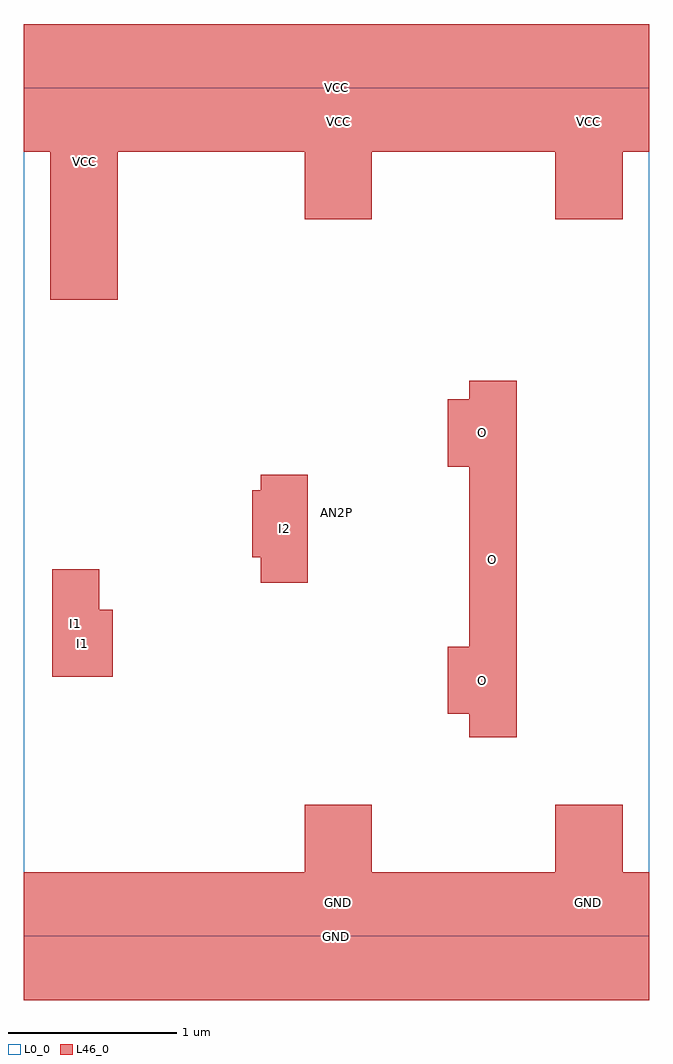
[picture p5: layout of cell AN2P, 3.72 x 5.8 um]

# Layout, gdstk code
import gdstk
lib = gdstk.Library(unit=1e-6, precision=1e-09)
def R(c, l, rs):  # rectangles x0, y0, x1, y1
    for r in rs: c.add(gdstk.rectangle(r[:2], r[2:], *l))
L0_0 = (0, 0)
L46_0 = (46, 0)

an2p = lib.new_cell('AN2P')
R(an2p, L0_0, [(0,0,3.72,5.04)])
R(an2p, L46_0, [(0,-0.38,3.72,0.38), (1.67,-0.38,2.07,0.78), (3.16,-0.38,3.56,0.78), (2.65,1.18,2.93,3.3), (2.52,1.32,2.93,1.72), (0.17,1.54,0.45,2.18), (0.17,1.54,0.53,1.94), (1.41,2.1,1.69,2.74), (1.36,2.25,1.69,2.65), (2.52,2.79,2.93,3.19), (0.16,3.78,0.56,5.42), (1.67,4.26,2.07,5.42), (3.16,4.26,3.56,5.42), (0,4.66,3.72,5.42)])
an2p.add(gdstk.Label('AN2P', (1.86,2.52), layer=0, texttype=0))
an2p.add(gdstk.Label('O', (2.725,2.99), layer=101, texttype=0))
an2p.add(gdstk.Label('O', (2.79,2.24), layer=101, texttype=0))
an2p.add(gdstk.Label('O', (2.725,1.52), layer=101, texttype=0))
an2p.add(gdstk.Label('I2', (1.55,2.42), layer=101, texttype=0))
an2p.add(gdstk.Label('I2', (1.525,2.45), layer=101, texttype=0))
an2p.add(gdstk.Label('I1', (0.35,1.74), layer=101, texttype=0))
an2p.add(gdstk.Label('I1', (0.31,1.86), layer=101, texttype=0))
an2p.add(gdstk.Label('GND', (3.36,0.2), layer=101, texttype=0))
an2p.add(gdstk.Label('GND', (1.86,0), layer=101, texttype=0))
an2p.add(gdstk.Label('GND', (1.87,0.2), layer=101, texttype=0))
an2p.add(gdstk.Label('VCC', (1.87,4.84), layer=101, texttype=0))
an2p.add(gdstk.Label('VCC', (3.36,4.84), layer=101, texttype=0))
an2p.add(gdstk.Label('VCC', (1.86,5.04), layer=101, texttype=0))
an2p.add(gdstk.Label('VCC', (0.36,4.6), layer=101, texttype=0))

lib.write_gds('AN2P.gds')
